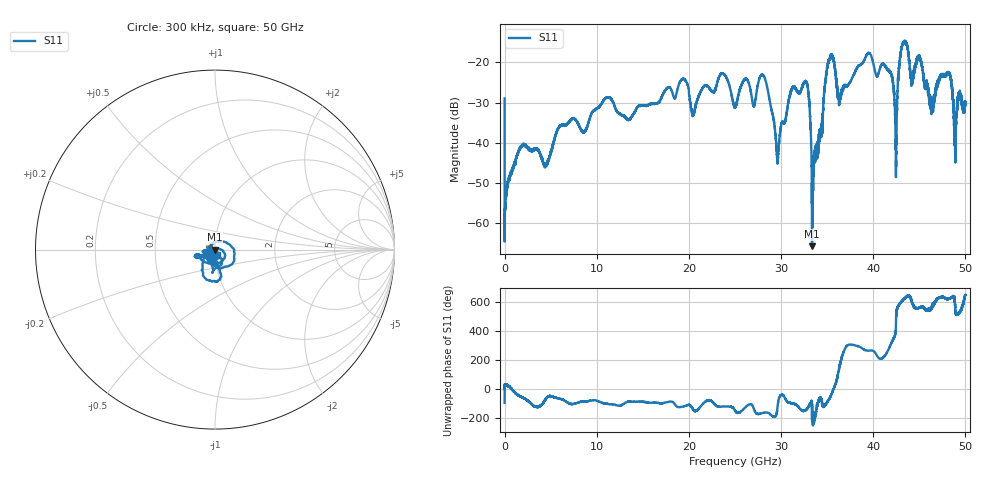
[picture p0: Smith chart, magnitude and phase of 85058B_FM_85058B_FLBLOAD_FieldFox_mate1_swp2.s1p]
!Created with skrf (http://scikit-rf.org).
# Hz S RI R 50.0
!freq ReS11 ImS11
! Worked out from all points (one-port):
!   10001 points, 300 kHz to 50 GHz, reference 50 ohm
!   lowest |S11| = -65.7 dB at 33.36 GHz (marker M1), VSWR 1.00, Z = 50 + j0.0329 ohm
!   |S11| at or under -10 dB: start of sweep to end of sweep
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300000  -0.00527 -0.0351
2.552985e8  0.00269 0.00101
1.815289e9  0.00484 -0.00782
4.455273e9  0.00152 -0.00507
6.250262e9  0.00438 -0.0161
1.250022e10  -0.0107 -0.0205
1.875019e10  -0.0273 -0.037
2.047018e10  -0.0185 -0.0132
2.367516e10  -0.0393 -0.0603
2.500015e10  -0.0242 -0.0129
2.805513e10  -0.0681 -0.0137
2.963512e10  -0.00268 -0.00529
3.125011e10  -0.0116 -0.0462
3.27701e10  -0.0448 -0.0326
3.33601e10  -0.000404 0.00033
3.423009e10  0.00583 -0.0132
3.530509e10  0.0561 -0.0955
3.632008e10  -0.0287 0.0167
3.750008e10  0.0335 -0.0457
3.958006e10  -0.0128 -0.1291
4.187005e10  0.0412 -0.0627
4.242005e10  0.0125 0.00566
4.306004e10  -0.0646 -0.1291
4.375004e10  0.0334 -0.1428
4.631002e10  -0.0215 -0.00734
4.810001e10  -0.0126 -0.0739
4.887501e10  -0.00577 -0.00616
5e10  0.0123 -0.0301
